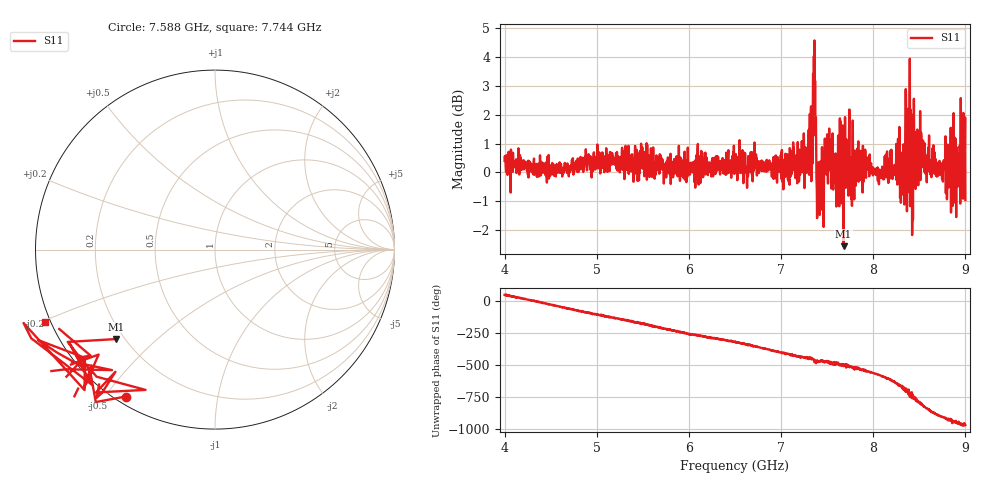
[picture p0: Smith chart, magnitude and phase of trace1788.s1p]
! Created with skrf 1.8.0 (http://scikit-rf.org).
# Hz S RI R 50.0
!freq ReS11 ImS11
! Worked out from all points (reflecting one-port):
!   1601 points, 4 GHz to 9 GHz, reference 50 ohm
!   lowest |S11| = -2.6 dB at 7.678 GHz (marker M1), VSWR 6.83, Z = 8.38 - j18.7 ohm
!   phase of S11 starts at 51 deg and turns -1021 deg over the sweep
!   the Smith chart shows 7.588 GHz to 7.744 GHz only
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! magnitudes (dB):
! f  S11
! 4 GHz  0.4
! 4.625 GHz  -0.1
! 5.25 GHz  0.0
! 5.875 GHz  0.2
! 6.5 GHz  0.1
! 7.125 GHz  0.4
! 7.278 GHz  0.7
! 7.316 GHz  0.1
! 7.356 GHz  4.0
! 7.369 GHz  3.2
! 7.409 GHz  -0.6
! 7.512 GHz  1.1
! 7.588 GHz  -0.4
! 7.65 GHz  1.4
! 7.678 GHz  -2.6
! 7.75 GHz  0.2
! 7.891 GHz  0.3
! 8.097 GHz  0.2
! 8.259 GHz  0.6
! 8.316 GHz  -0.5
! 8.334 GHz  -0.3
! 8.375 GHz  0.4
! 8.441 GHz  2.6
! 8.459 GHz  -0.6
! 8.712 GHz  0.1
! 8.919 GHz  -0.4
! 8.972 GHz  0.8
! 9 GHz  -1.0
